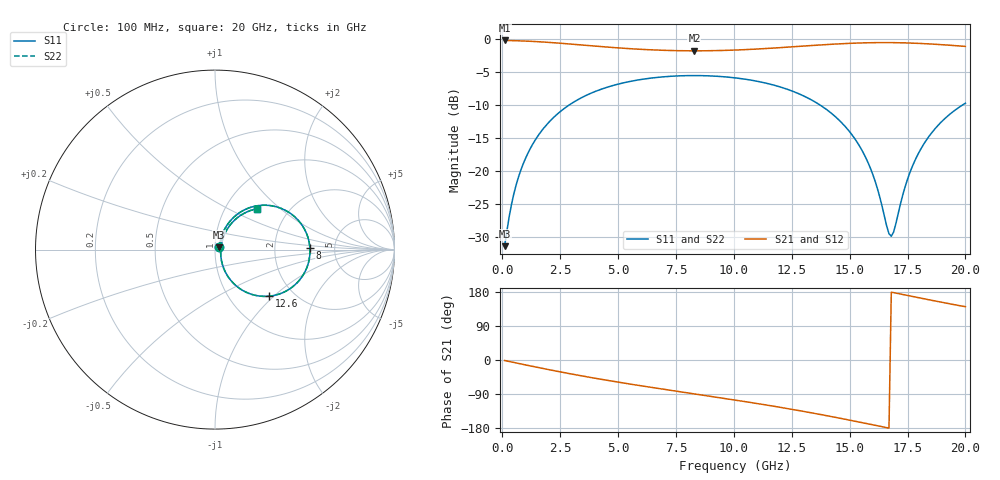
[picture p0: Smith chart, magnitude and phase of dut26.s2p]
! Touchstone file exported from HFSS 2026.1.0
!  File:  C:/ffzhzh/LocalFiles/Ansys_Project_Files/temp_train_TSV_RDL_26_1782963333_6388.aedt
!  Generated:  11:47:14 AM Jul  2, 2026
!  Design:  TSV_RDL
!  Project:  temp_train_TSV_RDL_26_1782963333_6388
! Variables:
!  h_bsmrdl = 4.76um
!  h_ox = 20um
!  h_rdl = 5um
!  h_sub = 93.43um
!  h_tmrdl = 4.66um
!  h_tsv = 93.43um
!  h_via = 3um
!  l_bsmrdl = 735.86um
!  l_sub = 3479.81um
!  l_tmrdl = 199um
!  m_sub = 200um
!  pitch = 31.17um
!  r_tsv = 4.17um
!  s_tmrdl = 10um
!  w_bsmrdl = 10.58um
!  w_sub = 500um
!  w_tmrdl = 14.83um
!  x_tsv_center1 = 206.415um
!  x_tsv_center2 = 952.855um
!  x_tsv_center3 = 1166.685um
!  x_tsv_center4 = 1913.125um
!  x_tsv_center5 = 2126.955um
!  x_tsv_center6 = 2873.395um
# GHz S MA R 50.000000
! Terminal data exported
! Port[1] = TM_RDL1_1_T1
! Port[2] = TM_RDL5_1_T1
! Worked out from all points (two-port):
!   200 points, 100 MHz to 20 GHz, reference 50 ohm
!   highest |S21| = -0.21 dB at 100 MHz (marker M1); lowest = -1.8 dB at 8.3 GHz (marker M2)
!   |S21| within 3 dB of the highest: start of sweep to end of sweep
!   lowest |S11| = -31.4 dB at 100 MHz (marker M3), VSWR 1.06, Z = 52.4 + j1.3 ohm
!   |S11| at or under -10 dB: start of sweep to 2.881 GHz; 13.73 GHz to 19.87 GHz (6.14 GHz wide, 36.6 % of centre)
!   |S22| runs from -31.4 to -5.5 dB; largest |S21 - S12| = 4e-14
!   S11 on the Smith chart (normalised r, x): 100 MHz: 1.05, +0.03; 8 GHz: 3.24, +0.07; 12.6 GHz: 1.52, -0.94; 20 GHz: 1.40, +0.71
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0.1  0.02703 27.4  0.9762 -1.3  0.9762 -1.3  0.02703 27.4
! Gamma 0 0 0 0
! Port Impedance 50 0 50 0
0.4  0.0563 58.3  0.9736 -5.3  0.9736 -5.3  0.0563 58.3
0.6  0.07883 63.1  0.9714 -7.8  0.9714 -7.8  0.07883 63.1
1.2  0.1473 64.0  0.9624 -15.5  0.9624 -15.5  0.1473 64.0
2.2  0.2534 55.8  0.9389 -27.8  0.9389 -27.8  0.2534 55.8
3.5  0.3657 42.6  0.9 -42.7  0.9 -42.7  0.3657 42.6
5  0.4558 27.8  0.8576 -58.4  0.8576 -58.4  0.4558 27.8
6.8  0.5149 11.3  0.824 -75.6  0.824 -75.6  0.5149 11.3
8  0.5288 0.8  0.8151 -86.7  0.8151 -86.7  0.5288 0.8
8.3  0.5293 -1.8  0.8147 -89.4  0.8147 -89.4  0.5293 -1.8
10.1  0.5074 -17.5  0.8263 -106.1  0.8263 -106.1  0.5074 -17.5
12.6  0.3989 -40.6  0.8753 -131.2  0.8753 -131.2  0.3989 -40.6
13.4  0.3425 -48.3  0.8948 -139.9  0.8948 -139.9  0.3425 -48.3
14.6  0.2382 -59.3  0.9212 -153.8  0.9212 -153.8  0.2382 -59.3
15.5  0.1473 -65.0  0.9351 -164.8  0.9351 -164.8  0.1473 -65.1
16.1  0.08408 -62.3  0.9399 -172.2  0.9399 -172.2  0.08401 -62.5
16.7  0.03358 -19.1  0.9405 -179.7  0.9405 -179.7  0.03339 -19.2
16.9  0.03461 17.4  0.9398 177.8  0.9398 177.8  0.03441 17.6
17.5  0.08674 56.6  0.9347 170.3  0.9347 170.3  0.08666 56.7
18.1  0.1496 58.8  0.9257 162.9  0.9257 162.9  0.1496 58.9
18.9  0.23 53.9  0.9088 153.2  0.9088 153.2  0.23 53.9
20  0.3269 44.1  0.88 140.6  0.88 140.6  0.3268 44.1
